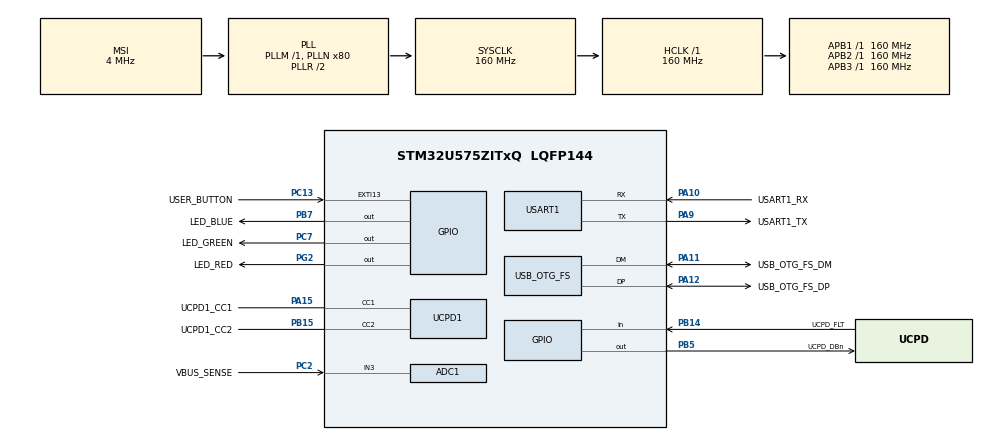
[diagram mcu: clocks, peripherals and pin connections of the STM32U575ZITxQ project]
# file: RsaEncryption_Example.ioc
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ADC1.NbrOfConversion=1
ADC1.Resolution=ADC_RESOLUTION_14B
ADC1.master=1
CORTEX_M33_NS.userName=CORTEX_M33
Mcu.Family=STM32U5
Mcu.Name=STM32U575ZITxQ
Mcu.Package=LQFP144
NVIC.OTG_FS_IRQn=true\:0\:0\:false\:false\:true\:true\:true\:true
NVIC.PriorityGroup=NVIC_PRIORITYGROUP_3
NVIC.RNG_IRQn=true\:0\:0\:false\:false\:true\:true\:true\:true
PA10.GPIO_Label=USART1_RX
PA10.GPIO_PuPd=GPIO_PULLDOWN
PA10.GPIO_Speed=GPIO_SPEED_FREQ_VERY_HIGH
PA10.Mode=Asynchronous
PA10.Signal=USART1_RX
PA11.GPIO_Label=USB_OTG_FS_DM
PA11.GPIO_Speed=GPIO_SPEED_FREQ_VERY_HIGH
PA11.Mode=Device_Only
PA11.Signal=USB_OTG_FS_DM
PA12.GPIO_Label=USB_OTG_FS_DP
PA12.GPIO_Speed=GPIO_SPEED_FREQ_VERY_HIGH
PA12.Mode=Device_Only
PA12.Signal=USB_OTG_FS_DP
PA13\ (JTMS/SWDIO).Mode=Trace_Asynchronous_SW
PA13\ (JTMS/SWDIO).Signal=DEBUG_JTMS-SWDIO
PA14\ (JTCK/SWCLK).Mode=Trace_Asynchronous_SW
PA14\ (JTCK/SWCLK).Signal=DEBUG_JTCK-SWCLK
PA15\ (JTDI).GPIO_Label=UCPD1_CC1
PA15\ (JTDI).Mode=Sink_AllSignals
PA15\ (JTDI).Signal=UCPD1_CC1
PA9.GPIO_Label=USART1_TX
PA9.GPIO_PuPd=GPIO_PULLDOWN
PA9.GPIO_Speed=GPIO_SPEED_FREQ_VERY_HIGH
PA9.Mode=Asynchronous
PA9.Signal=USART1_TX
PB14.GPIO_Label=UCPD_FLT
PB14.Signal=GPIO_Input
PB15.GPIO_Label=UCPD1_CC2
PB15.Mode=Sink_AllSignals
PB15.Signal=UCPD1_CC2
PB3\ (JTDO/TRACESWO).Mode=Trace_Asynchronous_SW
PB3\ (JTDO/TRACESWO).Signal=DEBUG_JTDO-SWO
PB5.GPIO_Label=UCPD_DBn
PB5.Signal=GPIO_Output
PB7.GPIO_Label=LED_BLUE
PB7.GPIO_ModeDefaultOutputPP=GPIO_MODE_OUTPUT_PP
PB7.GPIO_PuPd=GPIO_PULLUP
PB7.GPIO_Speed=GPIO_SPEED_FREQ_HIGH
PB7.Signal=GPIO_Output
PC13.GPIO_Label=USER_BUTTON
PC13.GPIO_ModeDefaultEXTI=GPIO_MODE_IT_FALLING
PC13.Signal=GPXTI13
PC14-OSC32_IN\ (PC14).Mode=LSE-External-Oscillator
PC14-OSC32_IN\ (PC14).Signal=RCC_OSC32_IN
PC15-OSC32_OUT\ (PC15).Mode=LSE-External-Oscillator
PC15-OSC32_OUT\ (PC15).Signal=RCC_OSC32_OUT
PC2.GPIO_Label=VBUS_SENSE
PC2.Mode=IN3-Single-Ended
PC2.Signal=ADC1_IN3
PC7.GPIO_Label=LED_GREEN
PC7.GPIO_PuPd=GPIO_PULLUP
PC7.GPIO_Speed=GPIO_SPEED_FREQ_HIGH
PC7.Signal=GPIO_Output
PG2.GPIO_Label=LED_RED
PG2.GPIO_ModeDefaultOutputPP=GPIO_MODE_OUTPUT_PP
PG2.GPIO_PuPd=GPIO_PULLUP
PG2.GPIO_Speed=GPIO_SPEED_FREQ_HIGH
PG2.Signal=GPIO_Output
PWR.PowerMode=PWR_SMPS_SUPPLY
ProjectManager.HeapSize=0x200
ProjectManager.StackSize=0x400
ProjectManager.TargetToolchain=STM32CubeIDE
RCC.ADCFreq_Value=16000000
RCC.AHBFreq_Value=160000000
RCC.APB1Freq_Value=160000000
RCC.APB1TimFreq_Value=160000000
RCC.APB2Freq_Value=160000000
RCC.APB2TimFreq_Value=160000000
RCC.APB3Freq_Value=160000000
RCC.CortexFreq_Value=160000000
RCC.DACCLockSelectionVirtual=RCC_DAC1CLKSOURCE_LSI
RCC.EPOD_VALUE=4000000
RCC.HCLKFreq_Value=160000000
RCC.HSE_VALUE=16000000
RCC.HSI48_VALUE=48000000
RCC.HSI_VALUE=16000000
RCC.LSIDIV_VALUE=32000
RCC.MSI_VALUE=4000000
RCC.PLLN=80
RCC.SYSCLKFreq_VALUE=160000000
RCC.SYSCLKSource=RCC_SYSCLKSOURCE_PLLCLK
RCC.USBFreq_Value=48000000
RCC.VCOOutputFreq_Value=320000000
USART1.VirtualMode-Asynchronous=VM_ASYNC
USB_OTG_FS.VirtualMode=Device_Only
VP_ICACHE_VS_ENABLE_ICACHE_MEMORY.Mode=Memoryregions
VP_ICACHE_VS_ICACHE.Mode=DirectMappedCache
VP_LPBAMQUEUE_VS_QUEUE.Mode=QUEUEMODE
VP_LPBAM_VS_SIG1.Mode=SmartRun
VP_LPBAM_VS_SIG4.Mode=LPDMA1
VP_MEMORYMAP_VS_MEMORYMAP.Mode=CurAppReg
VP_PWR_VS_DBSignals.Mode=DisableDeadBatterySignals
VP_PWR_VS_LPOM.Mode=PowerOptimisation
VP_PWR_VS_SECSignals.Mode=Security/Privilege
VP_PWR_Vdda.Mode=isolationVdda
VP_RNG_VS_RNG.Mode=RNG_Activate
VP_wolfSSL.I-CUBE-wolfSSL_VS_wolfSSLJjwolfSSL_5.7.2_5.7.2.Mode=wolfSSLJjwolfSSL
board=NUCLEO-U575ZI-Q
wolfSSL.I-CUBE-wolfSSL.5.7.2.wolfSSLCcwolfSSLJjwolfCryptJjCore=true
wolfSSL.I-CUBE-wolfSSL.5.7.2.wolfSSLCcwolfSSLJjwolfCryptJjTest=true
wolfSSL.I-CUBE-wolfSSL.5.7.2.wolfSSLCcwolfSSLJjwolfSSLJjCore=true

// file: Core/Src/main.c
/* USER CODE BEGIN Header */
/**
  ******************************************************************************
  * @file           : main.c
  * @brief          : Main program body
  ******************************************************************************
  * @attention
  *
  * Copyright (c) 2024 STMicroelectronics.
  * All rights reserved.
  *
  * This software is licensed under terms that can be found in the LICENSE file
  * in the root directory of this software component.
  * If no LICENSE file comes with this software, it is provided AS-IS.
  *
  ******************************************************************************
  */
/* USER CODE END Header */
#include "main.h"
#include <stdio.h>
#include <stdlib.h>
#include <string.h>
#include "wolfssl/options.h"
#include "wolfssl/wolfcrypt/rsa.h"
#include "wolfssl/wolfcrypt/random.h"
#include "wolfssl/wolfcrypt/error-crypt.h"

/* USER CODE BEGIN PD */
RsaKey rsaKey;
byte publicKeyDer[4096];
byte privateKeyDer[4096];
word32 publicKeyDerSz;
word32 privateKeyDerSz;
WC_RNG rng;
/* USER CODE END PD */

ADC_HandleTypeDef hadc1;

RNG_HandleTypeDef hrng;

UART_HandleTypeDef huart1;

PCD_HandleTypeDef hpcd_USB_OTG_FS;

void SystemClock_Config(void);
static void SystemPower_Config(void);
static void MX_GPIO_Init(void);
static void MX_ADC1_Init(void);
static void MX_ICACHE_Init(void);
static void MX_UCPD1_Init(void);
static void MX_USART1_UART_Init(void);
static void MX_USB_OTG_FS_PCD_Init(void);
static void MX_RNG_Init(void);
/* USER CODE BEGIN PFP */
void send_message(const char *msg);
int init_rng();
int generate_rsa_key();
int rsa_encrypt(byte* input, word32 inputSz, byte* output, word32* outputSz);
int rsa_decrypt(byte* input, word32 inputSz, byte* output, word32* outputSz);
/* USER CODE END PFP */

/* USER CODE BEGIN 0 */
int rsa_encrypt(byte* input, word32 inputSz, byte* output, word32* outputSz) {
	int ret;
	RsaKey publicKey;
	word32 idx = 0;

	/* INITIALIZING RSA PUBLIC KEY */
	wc_InitRsaKey(&publicKey, NULL);

	/* DECODING PUBLIC KEY */
	ret = wc_RsaPublicKeyDecode(publicKeyDer, &idx, &publicKey, publicKeyDerSz);
	if (ret != 0) {
		send_message("There was an error in decoding Rsa Public Key\r\n");
		return ret;
	} else {
		send_message("Rsa Public Key successfully decoded\r\n");
	}

	/* ENCRYPTING DATA */

	ret = wc_RsaPublicEncrypt(input, inputSz, output, *outputSz, &publicKey, &rng);
	if (ret < 0) {
		send_message("There was an error in encrypting the plaintext\r\n");
		return ret;
	} else {
		send_message("Plaintext has been successfully encrypted\r\n");
	}

	*outputSz = ret;

	/* RELEASING RESOURCES */
	wc_FreeRsaKey(&publicKey);

	return ret;
}

int rsa_decrypt(byte* input, word32 inputSz, byte* output, word32* outputSz) {
	int ret;
	RsaKey privateKey;
	word32 idx = 0;

	/* INITIALIZING RSA PRIVATE KEY */
	wc_InitRsaKey(&privateKey, NULL);

	/* DECODING PUBLIC KEY */
	ret = wc_RsaPrivateKeyDecode(privateKeyDer, &idx, &privateKey, privateKeyDerSz);
	if (ret != 0) {
			send_message("There was an error in decoding Rsa Private Key\r\n");
			return ret;
	} else {
			send_message("Rsa Private Key successfully decoded\r\n");
	}

	/* DECRYPTING DATA */
	wc_RsaSetRNG(&privateKey, &rng);
	ret = wc_RsaPrivateDecrypt(input, inputSz, output, *outputSz, &privateKey);
	if (ret < 0) {
		send_message("There was an error in decrypting the ciphertext\r\n");
		return ret;
	} else {
		send_message("Ciphertext has been successfully decrypted\r\n");
	}

	*outputSz = ret;
	/* RELEASING RESOURCES */
	wc_FreeRsaKey(&privateKey);

	return ret;
}

int generate_rsa_key() {
	int ret;
	long e = 65537;

	// RsaKey initialization
	wc_InitRsaKey(&rsaKey, NULL);

	// generate 2048 bit long private key
	ret = wc_MakeRsaKey(&rsaKey, 2048, e, &rng);
	if( ret != 0 ) {
		  send_message("There was an error in making RSA key\r\n");
	} else {
		  send_message("Your RSA key has been generated!\r\n");
	}

	/* SAVING KEY IN DER FORMAT */
	 privateKeyDerSz = sizeof(privateKeyDer);
	 ret = wc_RsaKeyToDer(&rsaKey, privateKeyDer, privateKeyDerSz);
	 if (ret < 0) {
		 send_message("There was an error in saving RsaKey to DER format\r\n");
		 return ret;
	 } else {
		 send_message("RsaKey successfully saved as DER\r\n");
	 }

	 privateKeyDerSz = ret; // actual size of the key

	 /* EXTRACTING PUBLIC KEY */
	 publicKeyDerSz = sizeof(publicKeyDer);
	 ret = wc_RsaKeyToPublicDer(&rsaKey, publicKeyDer, publicKeyDerSz);
	 if (ret < 0) {
		 send_message("There was an error in extracting public RsaKey\r\n");
		 return ret;
	 } else {
		 send_message("Rsa Public Key successfully extracted\r\n");
	 }

	 publicKeyDerSz = ret;	// actual size of the key

	 return ret;
}

int init_rng() {
	int to_return;
	to_return = wc_InitRng(&rng);
	if (to_return != 0) {
		send_message("There was en error in initializing RNG\r\n");
		return to_return;
	} else {
		send_message("RNG successfully initialized\r\n");
	}
	return to_return;
}

void send_message(const char *msg) {
	HAL_UART_Transmit(&huart1, (uint8_t *) msg, strlen(msg), HAL_MAX_DELAY);
}
/* USER CODE END 0 */

int main(void)
{

  /* USER CODE BEGIN 1 */
  int ret;
  byte plaintext[] = "Test encryption data";
  byte encrypted[256];
  word32 encryptedSz = sizeof(encrypted);
  byte decrypted[256];
  word32 decryptedSz = sizeof(decrypted);
  /* USER CODE END 1 */

  /* MCU Configuration--------------------------------------------------------*/

  /* Reset of all peripherals, Initializes the Flash interface and the Systick. */
  HAL_Init();

  /* Configure the system clock */
  SystemClock_Config();

  /* Configure the System Power */
  SystemPower_Config();

  /* Initialize all configured peripherals */
  MX_GPIO_Init();
  MX_ADC1_Init();
  MX_ICACHE_Init();
  MX_UCPD1_Init();
  MX_USART1_UART_Init();
  MX_USB_OTG_FS_PCD_Init();
  MX_RNG_Init();
  /* USER CODE BEGIN 2 */
  send_message("Welcome to RsaEncryption_Example!\r\n");

  /* INITIALIZING RNG */
  send_message("Initializing RNG...\r\n");
  ret = init_rng();
  if (ret != 0) {
	  return ret;
  }

  /* GENERATING RSA KEY */
  send_message("Generating RSA Key...\r\n");
  generate_rsa_key();

  /* ENCRYPTING */
  ret = rsa_encrypt(plaintext, sizeof(plaintext), encrypted, &encryptedSz);
  if (ret < 0) {
	  send_message("There was an error in encrypting the plaintext\r\n");
	  return ret;
  } else {
	  send_message("Successfully encrypted your text!\r\n");
  }

  /* DECRYPTING */
  ret = rsa_decrypt(encrypted, encryptedSz, decrypted, &decryptedSz);
//  if (ret == 0) {
//	  decrypted[decryptedSz] = "\0";
//
//	  send_message("Here is your decrypted text:");
//	  send_message((const char *)decrypted);
//	  send_message("\r\n");
//  }

  /* USER CODE END 2 */

  /* Infinite loop */
  while (1)
  {

  }
}

void SystemClock_Config(void)
{
  RCC_OscInitTypeDef RCC_OscInitStruct = {0};
  RCC_ClkInitTypeDef RCC_ClkInitStruct = {0};

  /** Configure the main internal regulator output voltage
  */
  if (HAL_PWREx_ControlVoltageScaling(PWR_REGULATOR_VOLTAGE_SCALE1) != HAL_OK)
  {
    Error_Handler();
  }

  /** Initializes the CPU, AHB and APB buses clocks
  */
  RCC_OscInitStruct.OscillatorType = RCC_OSCILLATORTYPE_HSI48|RCC_OSCILLATORTYPE_HSI
                              |RCC_OSCILLATORTYPE_MSI;
  RCC_OscInitStruct.HSIState = RCC_HSI_ON;
  RCC_OscInitStruct.HSI48State = RCC_HSI48_ON;
  RCC_OscInitStruct.HSICalibrationValue = RCC_HSICALIBRATION_DEFAULT;
  RCC_OscInitStruct.MSIState = RCC_MSI_ON;
  RCC_OscInitStruct.MSICalibrationValue = RCC_MSICALIBRATION_DEFAULT;
  RCC_OscInitStruct.MSIClockRange = RCC_MSIRANGE_4;
  RCC_OscInitStruct.PLL.PLLState = RCC_PLL_ON;
  RCC_OscInitStruct.PLL.PLLSource = RCC_PLLSOURCE_MSI;
  RCC_OscInitStruct.PLL.PLLMBOOST = RCC_PLLMBOOST_DIV1;
  RCC_OscInitStruct.PLL.PLLM = 1;
  RCC_OscInitStruct.PLL.PLLN = 80;
  RCC_OscInitStruct.PLL.PLLP = 2;
  RCC_OscInitStruct.PLL.PLLQ = 2;
  RCC_OscInitStruct.PLL.PLLR = 2;
  RCC_OscInitStruct.PLL.PLLRGE = RCC_PLLVCIRANGE_0;
  RCC_OscInitStruct.PLL.PLLFRACN = 0;
  if (HAL_RCC_OscConfig(&RCC_OscInitStruct) != HAL_OK)
  {
    Error_Handler();
  }

  /** Initializes the CPU, AHB and APB buses clocks
  */
  RCC_ClkInitStruct.ClockType = RCC_CLOCKTYPE_HCLK|RCC_CLOCKTYPE_SYSCLK
                              |RCC_CLOCKTYPE_PCLK1|RCC_CLOCKTYPE_PCLK2
                              |RCC_CLOCKTYPE_PCLK3;
  RCC_ClkInitStruct.SYSCLKSource = RCC_SYSCLKSOURCE_PLLCLK;
  RCC_ClkInitStruct.AHBCLKDivider = RCC_SYSCLK_DIV1;
  RCC_ClkInitStruct.APB1CLKDivider = RCC_HCLK_DIV1;
  RCC_ClkInitStruct.APB2CLKDivider = RCC_HCLK_DIV1;
  RCC_ClkInitStruct.APB3CLKDivider = RCC_HCLK_DIV1;

  if (HAL_RCC_ClockConfig(&RCC_ClkInitStruct, FLASH_LATENCY_4) != HAL_OK)
  {
    Error_Handler();
  }
}

/**
  * @brief Power Configuration
  * @retval None
  */
static void SystemPower_Config(void)
{
  HAL_PWREx_EnableVddIO2();

  /*
   * Switch to SMPS regulator instead of LDO
   */
  if (HAL_PWREx_ConfigSupply(PWR_SMPS_SUPPLY) != HAL_OK)
  {
    Error_Handler();
  }
}

static void MX_ADC1_Init(void)
{

  /** Common config
  */
  hadc1.Instance = ADC1;
  hadc1.Init.ClockPrescaler = ADC_CLOCK_ASYNC_DIV1;
  hadc1.Init.Resolution = ADC_RESOLUTION_14B;
  hadc1.Init.GainCompensation = 0;
  hadc1.Init.ScanConvMode = ADC_SCAN_DISABLE;
  hadc1.Init.EOCSelection = ADC_EOC_SINGLE_CONV;
  hadc1.Init.LowPowerAutoWait = DISABLE;
  hadc1.Init.ContinuousConvMode = DISABLE;
  hadc1.Init.NbrOfConversion = 1;
  hadc1.Init.DiscontinuousConvMode = DISABLE;
  hadc1.Init.DMAContinuousRequests = DISABLE;
  hadc1.Init.TriggerFrequencyMode = ADC_TRIGGER_FREQ_HIGH;
  hadc1.Init.Overrun = ADC_OVR_DATA_PRESERVED;
  hadc1.Init.LeftBitShift = ADC_LEFTBITSHIFT_NONE;
  hadc1.Init.ConversionDataManagement = ADC_CONVERSIONDATA_DR;
  hadc1.Init.OversamplingMode = DISABLE;
  if (HAL_ADC_Init(&hadc1) != HAL_OK)
  {
    Error_Handler();
  }

}

static void MX_ICACHE_Init(void)
{

  /** Enable instruction cache in 1-way (direct mapped cache)
  */
  if (HAL_ICACHE_ConfigAssociativityMode(ICACHE_1WAY) != HAL_OK)
  {
    Error_Handler();
  }
  if (HAL_ICACHE_Enable() != HAL_OK)
  {
    Error_Handler();
  }

}

static void MX_RNG_Init(void)
{

  hrng.Instance = RNG;
  hrng.Init.ClockErrorDetection = RNG_CED_ENABLE;
  if (HAL_RNG_Init(&hrng) != HAL_OK)
  {
    Error_Handler();
  }

}

static void MX_UCPD1_Init(void)
{

  LL_GPIO_InitTypeDef GPIO_InitStruct = {0};

  /* Peripheral clock enable */
  LL_APB1_GRP2_EnableClock(LL_APB1_GRP2_PERIPH_UCPD1);

  LL_AHB2_GRP1_EnableClock(LL_AHB2_GRP1_PERIPH_GPIOB);
  LL_AHB2_GRP1_EnableClock(LL_AHB2_GRP1_PERIPH_GPIOA);
  /**UCPD1 GPIO Configuration
  PB15   ------> UCPD1_CC2
  PA15 (JTDI)   ------> UCPD1_CC1
  */
  GPIO_InitStruct.Pin = LL_GPIO_PIN_15;
  GPIO_InitStruct.Mode = LL_GPIO_MODE_ANALOG;
  GPIO_InitStruct.Pull = LL_GPIO_PULL_NO;
  LL_GPIO_Init(GPIOB, &GPIO_InitStruct);

  GPIO_InitStruct.Pin = LL_GPIO_PIN_15;
  GPIO_InitStruct.Mode = LL_GPIO_MODE_ANALOG;
  GPIO_InitStruct.Pull = LL_GPIO_PULL_NO;
  LL_GPIO_Init(GPIOA, &GPIO_InitStruct);

}

static void MX_USART1_UART_Init(void)
{

  huart1.Instance = USART1;
  huart1.Init.BaudRate = 115200;
  huart1.Init.WordLength = UART_WORDLENGTH_8B;
  huart1.Init.StopBits = UART_STOPBITS_1;
  huart1.Init.Parity = UART_PARITY_NONE;
  huart1.Init.Mode = UART_MODE_TX_RX;
  huart1.Init.HwFlowCtl = UART_HWCONTROL_NONE;
  huart1.Init.OverSampling = UART_OVERSAMPLING_16;
  huart1.Init.OneBitSampling = UART_ONE_BIT_SAMPLE_DISABLE;
  huart1.Init.ClockPrescaler = UART_PRESCALER_DIV1;
  huart1.AdvancedInit.AdvFeatureInit = UART_ADVFEATURE_NO_INIT;
  if (HAL_UART_Init(&huart1) != HAL_OK)
  {
    Error_Handler();
  }
  if (HAL_UARTEx_SetTxFifoThreshold(&huart1, UART_TXFIFO_THRESHOLD_1_8) != HAL_OK)
  {
    Error_Handler();
  }
  if (HAL_UARTEx_SetRxFifoThreshold(&huart1, UART_RXFIFO_THRESHOLD_1_8) != HAL_OK)
  {
    Error_Handler();
  }
  if (HAL_UARTEx_DisableFifoMode(&huart1) != HAL_OK)
  {
    Error_Handler();
  }

}

static void MX_USB_OTG_FS_PCD_Init(void)
{

  hpcd_USB_OTG_FS.Instance = USB_OTG_FS;
  hpcd_USB_OTG_FS.Init.dev_endpoints = 6;
  hpcd_USB_OTG_FS.Init.speed = PCD_SPEED_FULL;
  hpcd_USB_OTG_FS.Init.phy_itface = PCD_PHY_EMBEDDED;
  hpcd_USB_OTG_FS.Init.Sof_enable = DISABLE;
  hpcd_USB_OTG_FS.Init.low_power_enable = DISABLE;
  hpcd_USB_OTG_FS.Init.lpm_enable = DISABLE;
  hpcd_USB_OTG_FS.Init.battery_charging_enable = DISABLE;
  hpcd_USB_OTG_FS.Init.use_dedicated_ep1 = DISABLE;
  hpcd_USB_OTG_FS.Init.vbus_sensing_enable = DISABLE;
  hpcd_USB_OTG_FS.Init.dma_enable = DISABLE;
  if (HAL_PCD_Init(&hpcd_USB_OTG_FS) != HAL_OK)
  {
    Error_Handler();
  }

}

static void MX_GPIO_Init(void)
{
  GPIO_InitTypeDef GPIO_InitStruct = {0};

  /* GPIO Ports Clock Enable */
  __HAL_RCC_GPIOC_CLK_ENABLE();
  __HAL_RCC_GPIOB_CLK_ENABLE();
  __HAL_RCC_GPIOG_CLK_ENABLE();
  __HAL_RCC_GPIOA_CLK_ENABLE();

  /*Configure GPIO pin Output Level */
  HAL_GPIO_WritePin(LED_RED_GPIO_Port, LED_RED_Pin, GPIO_PIN_RESET);

  /*Configure GPIO pin Output Level */
  HAL_GPIO_WritePin(LED_GREEN_GPIO_Port, LED_GREEN_Pin, GPIO_PIN_RESET);

  /*Configure GPIO pin Output Level */
  HAL_GPIO_WritePin(GPIOB, UCPD_DBn_Pin|LED_BLUE_Pin, GPIO_PIN_RESET);

  /*Configure GPIO pin : USER_BUTTON_Pin */
  GPIO_InitStruct.Pin = USER_BUTTON_Pin;
  GPIO_InitStruct.Mode = GPIO_MODE_IT_FALLING;
  GPIO_InitStruct.Pull = GPIO_NOPULL;
  HAL_GPIO_Init(USER_BUTTON_GPIO_Port, &GPIO_InitStruct);

  /*Configure GPIO pin : UCPD_FLT_Pin */
  GPIO_InitStruct.Pin = UCPD_FLT_Pin;
  GPIO_InitStruct.Mode = GPIO_MODE_INPUT;
  GPIO_InitStruct.Pull = GPIO_NOPULL;
  HAL_GPIO_Init(UCPD_FLT_GPIO_Port, &GPIO_InitStruct);

  /*Configure GPIO pin : LED_RED_Pin */
  GPIO_InitStruct.Pin = LED_RED_Pin;
  GPIO_InitStruct.Mode = GPIO_MODE_OUTPUT_PP;
  GPIO_InitStruct.Pull = GPIO_PULLUP;
  GPIO_InitStruct.Speed = GPIO_SPEED_FREQ_HIGH;
  HAL_GPIO_Init(LED_RED_GPIO_Port, &GPIO_InitStruct);

  /*Configure GPIO pin : LED_GREEN_Pin */
  GPIO_InitStruct.Pin = LED_GREEN_Pin;
  GPIO_InitStruct.Mode = GPIO_MODE_OUTPUT_PP;
  GPIO_InitStruct.Pull = GPIO_PULLUP;
  GPIO_InitStruct.Speed = GPIO_SPEED_FREQ_HIGH;
  HAL_GPIO_Init(LED_GREEN_GPIO_Port, &GPIO_InitStruct);

  /*Configure GPIO pin : UCPD_DBn_Pin */
  GPIO_InitStruct.Pin = UCPD_DBn_Pin;
  GPIO_InitStruct.Mode = GPIO_MODE_OUTPUT_PP;
  GPIO_InitStruct.Pull = GPIO_NOPULL;
  GPIO_InitStruct.Speed = GPIO_SPEED_FREQ_LOW;
  HAL_GPIO_Init(UCPD_DBn_GPIO_Port, &GPIO_InitStruct);

  /*Configure GPIO pin : LED_BLUE_Pin */
  GPIO_InitStruct.Pin = LED_BLUE_Pin;
  GPIO_InitStruct.Mode = GPIO_MODE_OUTPUT_PP;
  GPIO_InitStruct.Pull = GPIO_PULLUP;
  GPIO_InitStruct.Speed = GPIO_SPEED_FREQ_HIGH;
  HAL_GPIO_Init(LED_BLUE_GPIO_Port, &GPIO_InitStruct);

}

void Error_Handler(void)
{
  __disable_irq();
  while (1)
  {
  }
}
